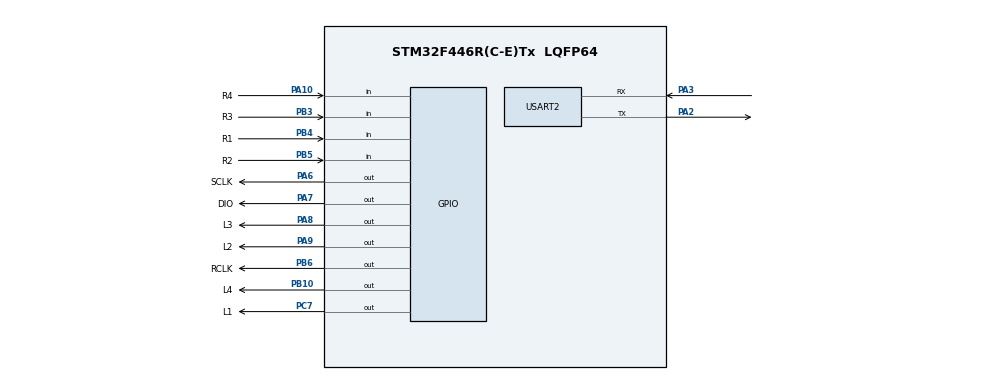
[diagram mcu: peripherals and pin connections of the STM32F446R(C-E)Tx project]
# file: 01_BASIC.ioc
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Mcu.Family=STM32F4
Mcu.Name=STM32F446R(C-E)Tx
Mcu.Package=LQFP64
NVIC.PriorityGroup=NVIC_PRIORITYGROUP_4
NVIC.TIM6_DAC_IRQn=true\:2\:0\:true\:false\:true\:true\:true\:true
NVIC.TIM7_IRQn=true\:0\:0\:false\:false\:true\:true\:true\:true
NVIC.USART2_IRQn=true\:1\:0\:true\:false\:true\:true\:true\:true
PA10.GPIO_Label=R4
PA10.GPIO_PuPd=GPIO_PULLUP
PA10.Signal=GPIO_Input
PA2.Mode=Asynchronous
PA2.Signal=USART2_TX
PA3.Mode=Asynchronous
PA3.Signal=USART2_RX
PA6.GPIO_Label=SCLK
PA6.Signal=GPIO_Output
PA7.GPIO_Label=DIO
PA7.Signal=GPIO_Output
PA8.GPIO_Label=L3
PA8.Signal=GPIO_Output
PA9.GPIO_Label=L2
PA9.Signal=GPIO_Output
PB10.GPIO_Label=L4
PB10.Signal=GPIO_Output
PB3.GPIO_Label=R3
PB3.GPIO_PuPd=GPIO_PULLUP
PB3.Signal=GPIO_Input
PB4.GPIO_Label=R1
PB4.GPIO_PuPd=GPIO_PULLUP
PB4.Signal=GPIO_Input
PB5.GPIO_Label=R2
PB5.GPIO_PuPd=GPIO_PULLUP
PB5.Signal=GPIO_Input
PB6.GPIO_Label=RCLK
PB6.Signal=GPIO_Output
PC7.GPIO_Label=L1
PC7.Signal=GPIO_Output
ProjectManager.HeapSize=0x200
ProjectManager.StackSize=0x400
ProjectManager.TargetToolchain=STM32CubeIDE
RCC.CortexFreq_Value=16000000
RCC.USBFreq_Value=96000000
RCC.VCOOutputFreq_Value=192000000
TIM6.Period=499
TIM6.Prescaler=15999
TIM7.Period=9
TIM7.Prescaler=1599
USART2.VirtualMode=VM_ASYNC
VP_TIM6_VS_ClockSourceINT.Mode=Enable_Timer
VP_TIM7_VS_ClockSourceINT.Mode=Enable_Timer
board=custom

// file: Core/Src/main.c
/* USER CODE BEGIN Header */
/**
  ******************************************************************************
  * @file           : main.c
  * @brief          : Main program body
  ******************************************************************************
  * @attention
  *
  * Copyright (c) 2025 STMicroelectronics.
  * All rights reserved.
  *
  * This software is licensed under terms that can be found in the LICENSE file
  * in the root directory of this software component.
  * If no LICENSE file comes with this software, it is provided AS-IS.
  *
  ******************************************************************************
  */
/* USER CODE END Header */
#include "main.h"

 TIM_HandleTypeDef htim6;
TIM_HandleTypeDef htim7;

UART_HandleTypeDef huart2;

/* USER CODE BEGIN PV */
GPIO_TypeDef* row_port[4] = {L1_GPIO_Port, L2_GPIO_Port, L3_GPIO_Port, L4_GPIO_Port};
uint16_t     row_pin [4] = {L1_Pin,      L2_Pin,      L3_Pin,      L4_Pin     };

GPIO_TypeDef* col_port[4] = {R1_GPIO_Port, R2_GPIO_Port, R3_GPIO_Port, R4_GPIO_Port};
uint16_t     col_pin [4] = {R1_Pin,      R2_Pin,      R3_Pin,      R4_Pin     };

#define MAX_SID_LEN 10
const uint8_t LED_CODE[] = {
  0xC0, // 0
  0xF9, // 1
  0xA4, // 2
  0xB0, // 3
  0x99, // 4
  0x92, // 5
  0x82, // 6
  0xF8, // 7
  0x80, // 8
  0x90, // 9
  0xFF, // *
  0xFF, // #
};
uint8_t LED_BUF[8] = {0xFF,0xFF,0xFF,0xFF,0xFF,0xFF,0xFF,0xFF};
uint8_t disp_ind = 0;
uint8_t sid_disp_len = 0;
uint8_t cur_row=0, cur_col, key_value;

uint8_t sid_buf[MAX_SID_LEN];
uint8_t sid_len=0, sid_scroll_len=0, scroll_idx=0;
int8_t  scroll_dir=1;
uint8_t input_mode=0;

volatile uint8_t rx_byte;
volatile uint8_t rx_overflow = 0;

/* USER CODE END PV */

void SystemClock_Config(void);
static void MX_GPIO_Init(void);
static void MX_TIM7_Init(void);
static void MX_TIM6_Init(void);
static void MX_USART2_UART_Init(void);
/* USER CODE BEGIN PFP */
void SID_Parse(uint8_t ch);
/* USER CODE END PFP */

/* USER CODE BEGIN 0 */
void out_595(uint8_t data)
{
  for (int i = 0; i < 8; i++) {
    HAL_GPIO_WritePin(SCLK_GPIO_Port, SCLK_Pin, GPIO_PIN_RESET);
    if (data & (0x80 >> i))
      HAL_GPIO_WritePin(DIO_GPIO_Port, DIO_Pin, GPIO_PIN_SET);
    else
      HAL_GPIO_WritePin(DIO_GPIO_Port, DIO_Pin, GPIO_PIN_RESET);
    HAL_GPIO_WritePin(SCLK_GPIO_Port, SCLK_Pin, GPIO_PIN_SET);
  }
}
/* USER CODE END 0 */

int main(void)
{

  /* MCU Configuration--------------------------------------------------------*/

  /* Reset of all peripherals, Initializes the Flash interface and the Systick. */
  HAL_Init();

  /* Configure the system clock */
  SystemClock_Config();

  /* Initialize all configured peripherals */
  MX_GPIO_Init();
  MX_TIM7_Init();
  MX_TIM6_Init();
  MX_USART2_UART_Init();
  /* USER CODE BEGIN 2 */
  HAL_UART_Receive_IT(&huart2, (uint8_t *)&rx_byte, 1);   /* 开启首字节串口中断接收 */
  HAL_TIM_Base_Start_IT(&htim7);
  __HAL_TIM_DISABLE_IT(&htim6, TIM_IT_UPDATE);
  __HAL_TIM_DISABLE(&htim6);

  /* USER CODE END 2 */

  /* Infinite loop */
  /* USER CODE BEGIN WHILE */
  while (1)
  {
    __WFI();
    /* USER CODE END WHILE */

  }
}

void SystemClock_Config(void)
{
  RCC_OscInitTypeDef RCC_OscInitStruct = {0};
  RCC_ClkInitTypeDef RCC_ClkInitStruct = {0};

  /** Configure the main internal regulator output voltage
  */
  __HAL_RCC_PWR_CLK_ENABLE();
  __HAL_PWR_VOLTAGESCALING_CONFIG(PWR_REGULATOR_VOLTAGE_SCALE3);

  /** Initializes the RCC Oscillators according to the specified parameters
  * in the RCC_OscInitTypeDef structure.
  */
  RCC_OscInitStruct.OscillatorType = RCC_OSCILLATORTYPE_HSI;
  RCC_OscInitStruct.HSIState = RCC_HSI_ON;
  RCC_OscInitStruct.HSICalibrationValue = RCC_HSICALIBRATION_DEFAULT;
  RCC_OscInitStruct.PLL.PLLState = RCC_PLL_NONE;
  if (HAL_RCC_OscConfig(&RCC_OscInitStruct) != HAL_OK)
  {
    Error_Handler();
  }

  /** Initializes the CPU, AHB and APB buses clocks
  */
  RCC_ClkInitStruct.ClockType = RCC_CLOCKTYPE_HCLK|RCC_CLOCKTYPE_SYSCLK
                              |RCC_CLOCKTYPE_PCLK1|RCC_CLOCKTYPE_PCLK2;
  RCC_ClkInitStruct.SYSCLKSource = RCC_SYSCLKSOURCE_HSI;
  RCC_ClkInitStruct.AHBCLKDivider = RCC_SYSCLK_DIV1;
  RCC_ClkInitStruct.APB1CLKDivider = RCC_HCLK_DIV1;
  RCC_ClkInitStruct.APB2CLKDivider = RCC_HCLK_DIV1;

  if (HAL_RCC_ClockConfig(&RCC_ClkInitStruct, FLASH_LATENCY_0) != HAL_OK)
  {
    Error_Handler();
  }
}

static void MX_TIM6_Init(void)
{

  TIM_MasterConfigTypeDef sMasterConfig = {0};

  htim6.Instance = TIM6;
  htim6.Init.Prescaler = 15999;
  htim6.Init.CounterMode = TIM_COUNTERMODE_UP;
  htim6.Init.Period = 499;
  htim6.Init.AutoReloadPreload = TIM_AUTORELOAD_PRELOAD_DISABLE;
  if (HAL_TIM_Base_Init(&htim6) != HAL_OK)
  {
    Error_Handler();
  }
  sMasterConfig.MasterOutputTrigger = TIM_TRGO_RESET;
  sMasterConfig.MasterSlaveMode = TIM_MASTERSLAVEMODE_DISABLE;
  if (HAL_TIMEx_MasterConfigSynchronization(&htim6, &sMasterConfig) != HAL_OK)
  {
    Error_Handler();
  }

}

static void MX_TIM7_Init(void)
{

  TIM_MasterConfigTypeDef sMasterConfig = {0};

  htim7.Instance = TIM7;
  htim7.Init.Prescaler = 1599;
  htim7.Init.CounterMode = TIM_COUNTERMODE_UP;
  htim7.Init.Period = 9;
  htim7.Init.AutoReloadPreload = TIM_AUTORELOAD_PRELOAD_DISABLE;
  if (HAL_TIM_Base_Init(&htim7) != HAL_OK)
  {
    Error_Handler();
  }
  sMasterConfig.MasterOutputTrigger = TIM_TRGO_RESET;
  sMasterConfig.MasterSlaveMode = TIM_MASTERSLAVEMODE_DISABLE;
  if (HAL_TIMEx_MasterConfigSynchronization(&htim7, &sMasterConfig) != HAL_OK)
  {
    Error_Handler();
  }

}

static void MX_USART2_UART_Init(void)
{

  huart2.Instance = USART2;
  huart2.Init.BaudRate = 115200;
  huart2.Init.WordLength = UART_WORDLENGTH_8B;
  huart2.Init.StopBits = UART_STOPBITS_1;
  huart2.Init.Parity = UART_PARITY_NONE;
  huart2.Init.Mode = UART_MODE_TX_RX;
  huart2.Init.HwFlowCtl = UART_HWCONTROL_NONE;
  huart2.Init.OverSampling = UART_OVERSAMPLING_16;
  if (HAL_UART_Init(&huart2) != HAL_OK)
  {
    Error_Handler();
  }

}

static void MX_GPIO_Init(void)
{
  GPIO_InitTypeDef GPIO_InitStruct = {0};

  /* GPIO Ports Clock Enable */
  __HAL_RCC_GPIOA_CLK_ENABLE();
  __HAL_RCC_GPIOB_CLK_ENABLE();
  __HAL_RCC_GPIOC_CLK_ENABLE();

  /*Configure GPIO pin Output Level */
  HAL_GPIO_WritePin(GPIOA, SCLK_Pin|DIO_Pin|L3_Pin|L2_Pin, GPIO_PIN_RESET);

  /*Configure GPIO pin Output Level */
  HAL_GPIO_WritePin(GPIOB, L4_Pin|RCLK_Pin, GPIO_PIN_RESET);

  /*Configure GPIO pin Output Level */
  HAL_GPIO_WritePin(L1_GPIO_Port, L1_Pin, GPIO_PIN_RESET);

  /*Configure GPIO pins : SCLK_Pin DIO_Pin L3_Pin L2_Pin */
  GPIO_InitStruct.Pin = SCLK_Pin|DIO_Pin|L3_Pin|L2_Pin;
  GPIO_InitStruct.Mode = GPIO_MODE_OUTPUT_PP;
  GPIO_InitStruct.Pull = GPIO_NOPULL;
  GPIO_InitStruct.Speed = GPIO_SPEED_FREQ_LOW;
  HAL_GPIO_Init(GPIOA, &GPIO_InitStruct);

  /*Configure GPIO pins : L4_Pin RCLK_Pin */
  GPIO_InitStruct.Pin = L4_Pin|RCLK_Pin;
  GPIO_InitStruct.Mode = GPIO_MODE_OUTPUT_PP;
  GPIO_InitStruct.Pull = GPIO_NOPULL;
  GPIO_InitStruct.Speed = GPIO_SPEED_FREQ_LOW;
  HAL_GPIO_Init(GPIOB, &GPIO_InitStruct);

  /*Configure GPIO pin : L1_Pin */
  GPIO_InitStruct.Pin = L1_Pin;
  GPIO_InitStruct.Mode = GPIO_MODE_OUTPUT_PP;
  GPIO_InitStruct.Pull = GPIO_NOPULL;
  GPIO_InitStruct.Speed = GPIO_SPEED_FREQ_LOW;
  HAL_GPIO_Init(L1_GPIO_Port, &GPIO_InitStruct);

  /*Configure GPIO pin : R4_Pin */
  GPIO_InitStruct.Pin = R4_Pin;
  GPIO_InitStruct.Mode = GPIO_MODE_INPUT;
  GPIO_InitStruct.Pull = GPIO_PULLUP;
  HAL_GPIO_Init(R4_GPIO_Port, &GPIO_InitStruct);

  /*Configure GPIO pins : R3_Pin R1_Pin R2_Pin */
  GPIO_InitStruct.Pin = R3_Pin|R1_Pin|R2_Pin;
  GPIO_InitStruct.Mode = GPIO_MODE_INPUT;
  GPIO_InitStruct.Pull = GPIO_PULLUP;
  HAL_GPIO_Init(GPIOB, &GPIO_InitStruct);

}

/* USER CODE BEGIN 4 */
void HAL_TIM_PeriodElapsedCallback(TIM_HandleTypeDef *htim)
{
  if (htim->Instance == TIM7) {

    HAL_GPIO_WritePin(RCLK_GPIO_Port, RCLK_Pin, GPIO_PIN_RESET);
    out_595(LED_BUF[disp_ind]);
    out_595(1 << disp_ind);
    HAL_GPIO_WritePin(RCLK_GPIO_Port, RCLK_Pin, GPIO_PIN_SET);
    disp_ind = (disp_ind + 1) & 0x07;
  }
  else if (htim->Instance == TIM6) {
    uint8_t idx;
    for (int i = 0; i < 8; i++) {
      idx = (scroll_idx + i) % sid_scroll_len;
      if (idx < sid_disp_len)
        LED_BUF[i] = LED_CODE[sid_buf[idx]];
      else
        LED_BUF[i] = 0xFF;
    }
    scroll_idx = (scroll_idx + scroll_dir + sid_scroll_len) % sid_scroll_len;
  }
}

void HAL_UART_RxCpltCallback(UART_HandleTypeDef *huart)
{
  if (huart->Instance == USART2) {

    SID_Parse(rx_byte);
    HAL_UART_Receive_IT(&huart2, (uint8_t *)&rx_byte, 1);
  }
}

void SID_Parse(uint8_t ch)
{
  /* 翻转方向：< 右→左,  > 左→右 */
  if (ch == '<')          { scroll_dir = -1; return; }
  if (ch == '>')          { scroll_dir =  1; return; }

  /* 行结束：回车 / 换行 */
  if (ch == '\r' || ch == '\n') {
    if (sid_len) {
      sid_disp_len   = sid_len;          /* ← 保存给 TIM6 用 */
      sid_scroll_len = sid_disp_len + 2; /* 仍插两格空白 */
      scroll_idx     = 0;

      __HAL_TIM_CLEAR_IT(&htim6, TIM_IT_UPDATE);
      __HAL_TIM_ENABLE_IT(&htim6, TIM_IT_UPDATE);
      __HAL_TIM_ENABLE(&htim6);
    }
    sid_len = 0;                           /* 仅清输入缓冲 */
    return;
  }

  /* 数字字符：'0'~'9' */
  if (ch >= '0' && ch <= '9') {
    if (sid_len < MAX_SID_LEN) {
      sid_buf[sid_len++] = (uint8_t)(ch - '0');     /* 存入学号 */
      /* 向右滚动式即时回显 */
      for (int j = 0; j < 7; j++) LED_BUF[j] = LED_BUF[j+1];
      LED_BUF[7] = LED_CODE[ch - '0'];
    } else {
      rx_overflow = 1;                /* 长度超限，可作提示 */
    }
  }
}

/* USER CODE END 4 */

void Error_Handler(void)
{
  __disable_irq();
  while (1)
  {
  }
}
